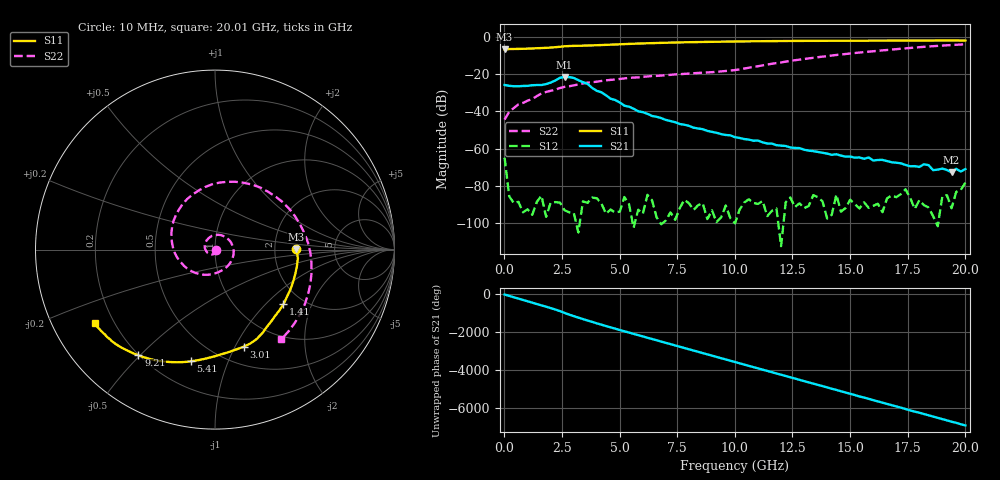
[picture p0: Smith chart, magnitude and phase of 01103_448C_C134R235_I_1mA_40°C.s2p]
!;Filter: kein Filter
!auto
!3/21/2019 9:26:39 AM
!3/21/2019 9:26:51 AM
!SP-Measurements Prober G4
!SP-Measurements Prober G4
!01103_448C
!134
!235
!12
!40
!-20
!0.00099996
!1.65
!0.05816927
!0.05816927
# Hz S  RI  R 50
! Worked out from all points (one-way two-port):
!   101 points, 10 MHz to 20.01 GHz, reference 50 ohm
!   highest |S21| = -21.65 dB at 2.61 GHz (marker M1); lowest = -72.7 dB at 19.41 GHz (marker M2)
!   lowest |S11| = -6.9 dB at 10 MHz (marker M3), VSWR 2.66, Z = 133 + j1.41 ohm
!   |S11| at or under -10 dB: nowhere
!   |S22| runs from -44.5 to -4.1 dB; largest |S21 - S12| = 0.083
!   S11 on the Smith chart (normalised r, x): 10 MHz: 2.66, +0.03; 1.41 GHz: 1.60, -1.28; 3.01 GHz: 0.69, -1.09; 5.41 GHz: 0.36, -0.74; 9.21 GHz: 0.20, -0.49; 20.01 GHz: 0.13, -0.28
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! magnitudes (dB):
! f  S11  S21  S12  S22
! 10 MHz  -6.9  -25.9  -64.8  -44.5
! 210 MHz  -6.7  -26.4  -85.5  -40.2
! 610 MHz  -6.6  -26.6  -88.5  -36.3
! 1.41 GHz  -6.2  -25.9  -88.4  -31.9
! 2.61 GHz  -5.2  -21.6  -93.0  -26.9
! 3.01 GHz  -5.0  -22.1  -94.3  -26.1
! 3.41 GHz  -4.9  -24.4  -88.3  -25.1
! 5.41 GHz  -3.9  -37.6  -89.8  -22.1
! 6.81 GHz  -3.4  -43.7  -100.5  -20.9
! 9.21 GHz  -2.8  -51.5  -99.3  -18.8
! 10.01 GHz  -2.6  -53.9  -100.0  -17.9
! 13.41 GHz  -2.3  -61.3  -84.9  -11.4
! 16.81 GHz  -2.2  -67.3  -85.1  -7.0
! 18.01 GHz  -2.1  -69.8  -87.6  -5.7
! 18.21 GHz  -2.1  -68.4  -90.3  -5.5
! 18.41 GHz  -2.1  -68.9  -91.5  -5.3
! 18.61 GHz  -2.1  -71.5  -96.1  -5.1
! 19.01 GHz  -2.1  -70.7  -85.6  -4.8
! 19.41 GHz  -2.1  -72.7  -91.9  -4.5
! 19.61 GHz  -2.1  -70.8  -83.2  -4.4
! 19.81 GHz  -2.1  -72.2  -82.1  -4.3
! 20.01 GHz  -2.1  -71.0  -78.2  -4.1
